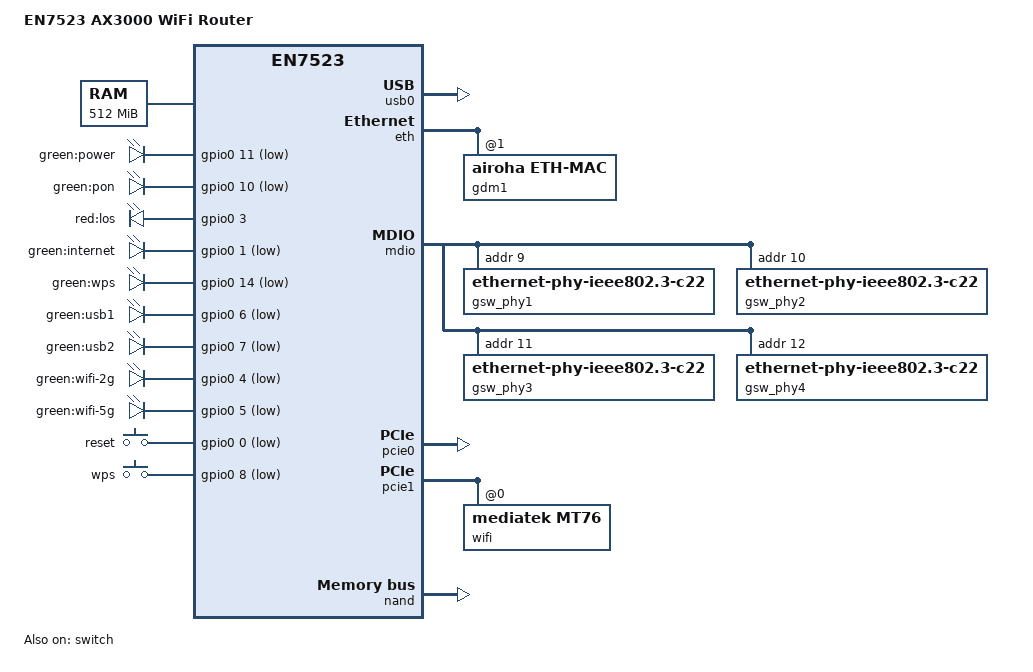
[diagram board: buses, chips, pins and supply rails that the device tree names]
// SPDX-License-Identifier: GPL-2.0-only OR BSD-2-Clause
/dts-v1/;

/*
 * Device Tree for an EN7523-based AX3000 WiFi router with MT7916 dual-band WiFi.
 * Supports both initramfs (TFTP) boot and persistent NAND sysupgrade.
 */
/memreserve/ 0x80000000 0x200000;

#include <dt-bindings/gpio/gpio.h>
#include <dt-bindings/input/input.h>
#include <dt-bindings/reset/airoha,en7523-reset.h>
#include "en7523.dtsi"

/ {
	model = "EN7523 AX3000 WiFi Router";
	compatible = "airoha,en7523-ax3000-router", "airoha,en7523";

	aliases {
		serial0 = &uart1;
	};





	chosen {
		bootargs = "console=ttyS0,115200 iomem=relaxed";
		stdout-path = "serial0:115200n8";
		linux,usable-memory-range = <0x80200000 0x1fe00000>;
	};

	memory@80000000 {
		device_type = "memory";
		reg = <0x80000000 0x20000000>;
	};

	reserved-memory {
		qdma0_buf: qdma0-buf@87000000 {
			no-map;
			reg = <0x87000000 0x02000000>;
		};

		qdma1_buf: qdma1-buf@89000000 {
			no-map;
			reg = <0x89000000 0x01000000>;
		};
	};

	npu: npu@1e800000 {
		compatible = "econet,ecnt-npu";
		reg = <0x1e800000 0x60000>, <0x1e900000 0x313000>;
		memory-region = <&npu_binary>;
		clocks = <&scu EN7523_CLK_NPU>;
		clock-names = "npu";
		resets = <&scu EN7523_NPU_RST>;
		reset-names = "npu";
		interrupts = <0x00 0x76 0x04>, <0x00 0x77 0x04>,
			     <0x00 0x78 0x04>, <0x00 0x79 0x04>,
			     <0x00 0x7a 0x04>, <0x00 0x7b 0x04>,
			     <0x00 0x7d 0x04>;
	};

	/*
	 * SoC GPIO LEDs verified on hardware:
	 * Power=GPIO11 (active-low), PON=GPIO10 (active-low),
	 * LOS=GPIO3 (active-HIGH!), Internet=GPIO1 (active-low).
	 *
	 * LAN LEDs (GPIO22-25) are NOT SoC GPIOs — they are PHY LED outputs
	 * from the MT7530 switch, controlled directly by the switch hardware
	 * in PHY LED mode (SCU 0x0210 bits 3-10 set by bootloader to 0x2a8).
	 * The pinctrl hwinit does NOT clear SCU 0x0210 so the switch keeps
	 * driving them automatically (link/activity). No DTS LED node needed.
	 * The MT7530 LED controller must be enabled in the switch driver setup
	 * (see patch 930-44). DSA port mapping: eth1=p1=LAN4, eth2=p2=LAN3,
	 * eth3=p3=LAN2, eth4=p4=LAN1
	 *
	 * WiFi 2.4G=GPIO4, WiFi 5G=GPIO5. These were in SPI flash mode
	 * (SCU 0x034 bits 4,5) but the pinctrl hwinit now clears those bits
	 * to free them as GPIO outputs. The SPI NAND uses a dedicated SNFI
	 * controller, not these pins. WiFi LED netdev triggers (link+rx on
	 * phy0-ap0/phy1-ap0) are configured by the board script (01_leds)
	 * and applied by the hotplug script after the WiFi PHY comes up.
	 * WPS=GPIO14 is registered for the WPS LED. If it conflicts with
	 * SPI quad mode, the GPIO request will fail safely (LED won't light
	 * but NAND access is unaffected).
	 */
	leds {
		compatible = "gpio-leds";

		led-power {
			label = "green:power";
			gpios = <&gpio0 11 GPIO_ACTIVE_LOW>;
			default-state = "on";
		};

		led-pon {
			label = "green:pon";
			gpios = <&gpio0 10 GPIO_ACTIVE_LOW>;
		};

		led-los {
			label = "red:los";
			gpios = <&gpio0 3 GPIO_ACTIVE_HIGH>;
			default-state = "off";
		};

		led-internet {
			label = "green:internet";
			gpios = <&gpio0 1 GPIO_ACTIVE_LOW>;
		};

		led-wps {
			label = "green:wps";
			gpios = <&gpio0 14 GPIO_ACTIVE_LOW>;
		};

		/*
		 * USB port LEDs, verified on hardware 2026-10-25 by driving each
		 * GPIO: GPIO6 -> the "USB1" lamp, GPIO7 -> the "USB2" lamp, both
		 * active-low. Matches the vendor LED table in
		 * /userfs/7529_62led.conf (led_no 10 -> gpio 6, led_no 54 -> gpio 7).
		 */
		led-usb1 {
			label = "green:usb1";
			gpios = <&gpio0 6 GPIO_ACTIVE_LOW>;
			default-state = "off";
		};

		led-usb2 {
			label = "green:usb2";
			gpios = <&gpio0 7 GPIO_ACTIVE_LOW>;
			default-state = "off";
		};

		led-wifi-2g {
			label = "green:wifi-2g";
			gpios = <&gpio0 4 GPIO_ACTIVE_LOW>;
		};

		led-wifi-5g {
			label = "green:wifi-5g";
			gpios = <&gpio0 5 GPIO_ACTIVE_LOW>;
		};
		};

	keys {
		compatible = "gpio-keys-polled";
		poll-interval = <100>;

		key-reset {
			label = "reset";
			gpios = <&gpio0 0 GPIO_ACTIVE_LOW>;
			linux,code = <KEY_RESTART>;
			debounce-interval = <60>;
		};

		key-wps {
			label = "wps";
			/* GPIO7 is the USB2 LED on this board; WPS button is GPIO8
			 * (vendor 7529_62led.conf: led_no 58 -> gpio 8, mode=input).
			 */
			gpios = <&gpio0 8 GPIO_ACTIVE_LOW>;
			linux,code = <KEY_WPS_BUTTON>;
			debounce-interval = <60>;
		};
	};

	/*
	 * USB. Verified on hardware (register dumps from the vendor bootloader
	 * and from U-Boot):
	 *   - xHCI controller at 0x1fab0000, GIC SPI 33, standard xHCI 1.1
	 *     (CAPLENGTH 0x20, HCIVERSION 0x0110, 3 ports, DBOFF 0x800,
	 *     RTSOFF 0x600). Vendor DT compatible was "econet,ecnt-xhci",
	 *     and the vendor kernel drove it with the generic xhci-plat
	 *     driver, so "generic-xhci" is the correct match here.
	 *   - The USB IP power control (IPPC) block sits at 0x1fab3e00 and
	 *     keeps the host IP powered down (ip_pw_ctr1 bit0) until it is
	 *     cleared; the PHY driver does that before xHCI probes.
	 *   - USB2 PHY registers at 0x1fad0000 use the same layout as the
	 *     mainline Airoha USB PHY (0x100 FMON, 0x310 USBPHYACR4,
	 *     0x36c U2PHYDTM1, 0x80c GPIO_CTLD, 0xb00 U3 PHYA).
	 * Node order matters: the PHY node is listed first so it probes (and
	 * powers up the IPPC) before the host controller.
	 */
	usb_phy: phy@1fad0000 {
		compatible = "airoha,an7581-usb-phy";
		reg = <0x1fad0000 0x2000>, <0x1fab3e00 0x100>;

		airoha,usb2-monitor-clk-sel = <1>;
		airoha,init-on-probe;

		#phy-cells = <1>;
	};

	usb0: usb@1fab0000 {
		compatible = "generic-xhci";
		reg = <0x1fab0000 0x3e00>;
		interrupts = <GIC_SPI 33 IRQ_TYPE_LEVEL_HIGH>;
		status = "okay";
	};

	/*
	 * Ethernet and switch nodes. Initially disabled here; enabled via
	 * status="okay" references at the bottom of this file.
	 */
	eth: ethernet@1fb50000 {
		compatible = "airoha,en7523-eth";
		status = "disabled";

		reg = <0x1fb50000 0x2600>,
		      <0x1fb54000 0x2000>,
		      <0x1fb56000 0x2000>,
		      <0x1fbf9000 0x1000>;
		reg-names = "fe", "qdma0", "qdma1", "gdmp";

		resets = <&scu EN7523_FE_RST>,
			 <&scu EN7523_FE_PDMA_RST>,
			 <&scu EN7523_FE_QDMA_RST>,
			 <&scu EN7523_DUAL_HSI0_MAC_RST>,
			 <&scu EN7523_DUAL_HSI1_MAC_RST>,
			 <&scu EN7523_HSI_MAC_RST>,
			 <&scu EN7523_GDMP_RST>;
		reset-names = "fe", "pdma", "qdma",
			      "hsi0-mac", "hsi1-mac", "hsi-mac", "gdmp";

		interrupts = <GIC_SPI 37 IRQ_TYPE_LEVEL_HIGH>,
			     <GIC_SPI 55 IRQ_TYPE_LEVEL_HIGH>,
			     <GIC_SPI 56 IRQ_TYPE_LEVEL_HIGH>,
			     <GIC_SPI 57 IRQ_TYPE_LEVEL_HIGH>,
			     <GIC_SPI 38 IRQ_TYPE_LEVEL_HIGH>,
			     <GIC_SPI 58 IRQ_TYPE_LEVEL_HIGH>,
			     <GIC_SPI 59 IRQ_TYPE_LEVEL_HIGH>,
			     <GIC_SPI 60 IRQ_TYPE_LEVEL_HIGH>,
			     <GIC_SPI 49 IRQ_TYPE_LEVEL_HIGH>,
			     <GIC_SPI 64 IRQ_TYPE_LEVEL_HIGH>;

		memory-region = <&qdma0_buf>, <&qdma1_buf>;
		memory-region-names = "qdma0-buf", "qdma1-buf";

		#address-cells = <1>;
		#size-cells = <0>;

		gdm1: ethernet@1 {
			compatible = "airoha,eth-mac";
			reg = <1>;
			phy-mode = "internal";
			status = "disabled";

			fixed-link {
				speed = <10000>;
				full-duplex;
				pause;
			};
		};
	};

	switch: switch@1fb58000 {
		compatible = "airoha,en7523-switch";
		reg = <0x1fb58000 0x8000>;
		resets = <&scu EN7523_GSW_RST>;
		interrupt-controller;
		#interrupt-cells = <1>;
		interrupt-parent = <&gic>;
		interrupts = <GIC_SPI 31 IRQ_TYPE_LEVEL_HIGH>;
		status = "disabled";

		#address-cells = <1>;
		#size-cells = <1>;

		ports {
			#address-cells = <1>;
			#size-cells = <0>;

			gsw_port1: port@1 {
				reg = <1>;
				phy-mode = "internal";
				phy-handle = <&gsw_phy1>;
				status = "disabled";
			};

			gsw_port2: port@2 {
				reg = <2>;
				phy-mode = "internal";
				phy-handle = <&gsw_phy2>;
				status = "disabled";
			};

			gsw_port3: port@3 {
				reg = <3>;
				phy-mode = "internal";
				phy-handle = <&gsw_phy3>;
				status = "disabled";
			};

			gsw_port4: port@4 {
				reg = <4>;
				phy-mode = "internal";
				phy-handle = <&gsw_phy4>;
				status = "disabled";
			};

			port@6 {
				reg = <6>;
				ethernet = <&gdm1>;
				phy-mode = "internal";

				fixed-link {
					speed = <10000>;
					full-duplex;
					pause;
				};
			};
		};

		mdio: mdio {
			#address-cells = <1>;
			#size-cells = <0>;

			gsw_phy1: ethernet-phy@9 {
				compatible = "ethernet-phy-ieee802.3-c22";
				reg = <9>;
			};

			gsw_phy2: ethernet-phy@a {
				compatible = "ethernet-phy-ieee802.3-c22";
				reg = <10>;
			};

			gsw_phy3: ethernet-phy@b {
				compatible = "ethernet-phy-ieee802.3-c22";
				reg = <11>;
			};

			gsw_phy4: ethernet-phy@c {
				compatible = "ethernet-phy-ieee802.3-c22";
				reg = <12>;
			};
		};
	};
};

&gpio0 {
	status = "okay";
};

&gpio1 {
	status = "okay";
};

&pcie0 {
	status = "okay";
};

&pcie1 {
	status = "okay";

	pcie@1,0 {
		reg = <0x0800 0 0 0 0>;
		#address-cells = <3>;
		#size-cells = <2>;

		wifi: wifi@0,0 {
			compatible = "mediatek,mt76";
			reg = <0x0000 0 0 0 0>;

			airoha,npu = <&npu>;
			airoha,eth = <&eth>;

			nvmem-cells = <&mt7916_eeprom_factory>;
			nvmem-cell-names = "eeprom";

			led {
				led-sources = <2>;
				led-active-low;
			};
		};
	};
};

&nand {
	status = "okay";

	partitions {
			compatible = "fixed-partitions";
			#address-cells = <1>;
			#size-cells = <1>;

			partition@0 {
				label = "bootloader";
				reg = <0x00000000 0x00080000>;
				read-only;
			};

			partition@80000 {
				label = "romfile";
				reg = <0x00080000 0x00040000>;
				read-only;
			};

			partition@c0000 {
				label = "masterbank";
				reg = <0x000c0000 0x01e00000>;
				read-only;
			};

			partition@1ec0000 {
				label = "firmware";
				reg = <0x01ec0000 0x0bf00000>;
			};

			partition@ddc0000 {
				label = "reservearea";
				reg = <0x0ddc0000 0x00240000>;
				read-only;

				nvmem-layout {
					compatible = "fixed-layout";
					#address-cells = <1>;
					#size-cells = <1>;

					mt7916_eeprom_factory: eeprom@4c000 {
						reg = <0x4c000 0x1000>;
					};
				};
			};
		};
};

&eth {
	status = "okay";
};

&gdm1 {
	status = "okay";
};

&switch {
	status = "okay";
};

&gsw_port1 {
	status = "okay";
};

&gsw_port2 {
	status = "okay";
};

&gsw_port3 {
	status = "okay";
};

&gsw_port4 {
	status = "okay";
};
